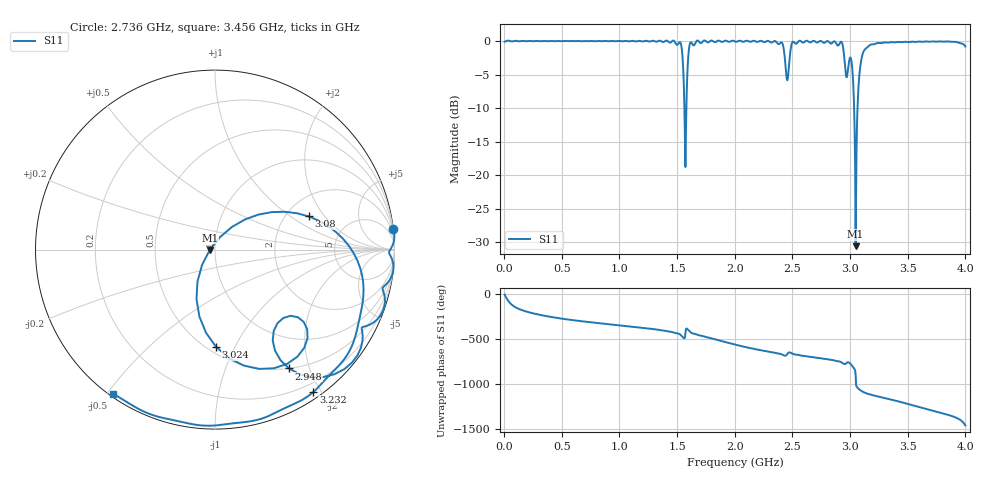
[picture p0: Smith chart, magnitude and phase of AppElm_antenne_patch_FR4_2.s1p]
! TOUCHSTONE file generated by CST MICROWAVE STUDIO
! Date and time: Tue Jun  7 21:56:59 2022
! Project name: AppElm_antenne_patch_FR4.cst
! Parameters = {L=45; W=58.5; e=0.035; h=1.6; lambda=0.190476; ls=96; w0=1.6; w1=0.533; ws=120; y0=20; y1=23.81}
! Header version: 2018
! Port assignment regex: !\s*Touchstone port\s*([0-9]+)\s*=\s*(CST MWS port|CST DS port)\s*([0-9]+|Zmin|Zmax)\s*\(\"(.*)\"\)(\s*mode\s*([0-9]+))?.*
! Touchstone port assignment:
! Touchstone port 1 = CST MWS port 1 ("")
# GHz S MA R 50
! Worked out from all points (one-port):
!   1000 points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, 4 MHz to 4 GHz, reference 50 ohm
!   lowest |S11| = -30.6 dB at 3.048 GHz (marker M1), VSWR 1.06, Z = 47.1 - j0.205 ohm
!   |S11| at or under -10 dB: 1.563 GHz to 1.58 GHz (17.16 MHz wide, 1.09 % of centre); 3.035 GHz to 3.064 GHz (29.4 MHz wide, 0.964 % of centre)
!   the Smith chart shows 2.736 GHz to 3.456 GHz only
!   S11 on the Smith chart (normalised r, x): 2.736 GHz: 0, +17; 2.948 GHz: 0.50, -1.69; 3.024 GHz: 0.55, -0.85; 3.08 GHz: 2.63, +1.40; 3.232 GHz: 0.08, -1.90; 3.456 GHz: 0.01, -0.52
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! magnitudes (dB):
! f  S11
! 4 MHz  -0.1
! 504 MHz  0.0
! 1.004 GHz  0.0
! 1.504 GHz  -0.5
! 1.536 GHz  -0.7
! 1.556 GHz  -5.5
! 1.572 GHz  -18.8
! 1.584 GHz  -7.2
! 1.604 GHz  -1.0
! 1.624 GHz  -0.2
! 2.004 GHz  -0.1
! 2.4 GHz  -0.2
! 2.456 GHz  -5.9
! 2.504 GHz  -0.1
! 2.736 GHz  0.0
! 2.92 GHz  -0.1
! 2.948 GHz  -2.2
! 3.004 GHz  -2.5
! 3.024 GHz  -5.3
! 3.032 GHz  -8.3
! 3.048 GHz  -30.6
! 3.064 GHz  -10.1
! 3.08 GHz  -5.1
! 3.12 GHz  -1.4
! 3.232 GHz  -0.3
! 3.456 GHz  -0.2
! 3.504 GHz  -0.1
! 4 GHz  -0.8
